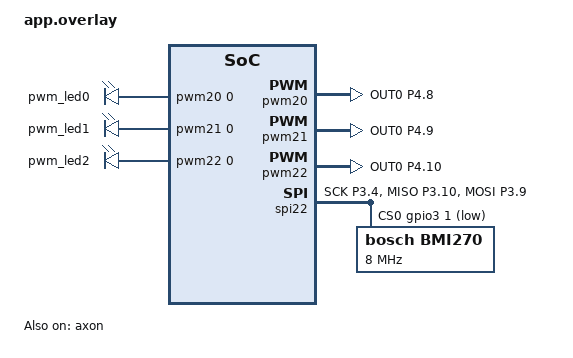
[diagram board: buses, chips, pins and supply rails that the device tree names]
/*
 * Copyright (c) 2026 Nordic Semiconductor ASA
 *
 * SPDX-License-Identifier: LicenseRef-Nordic-5-Clause
 */

/*
 * Drive the DK's green LEDs 0-2 (P4.8, P4.9, P4.10) from PWM20-22 so the
 * application can use its PWM LED effects instead of the GPIO fallback.
 */
/ {
	aliases {
		pwm-led0 = &pwm_led0;
		pwm-led1 = &pwm_led1;
		pwm-led2 = &pwm_led2;
	};

	pwmleds {
		compatible = "pwm-leds";

		pwm_led0: pwm_led_0 {
			pwms = <&pwm20 0 PWM_MSEC(20) PWM_POLARITY_NORMAL>;
		};

		pwm_led1: pwm_led_1 {
			pwms = <&pwm21 0 PWM_MSEC(20) PWM_POLARITY_NORMAL>;
		};

		pwm_led2: pwm_led_2 {
			pwms = <&pwm22 0 PWM_MSEC(20) PWM_POLARITY_NORMAL>;
		};
	};
};

&pwm20 {
	status = "okay";
	pinctrl-0 = <&pwm20_default_alt>;
	pinctrl-1 = <&pwm20_sleep_alt>;
	pinctrl-names = "default", "sleep";
};

&pwm21 {
	status = "okay";
	pinctrl-0 = <&pwm21_default_alt>;
	pinctrl-1 = <&pwm21_sleep_alt>;
	pinctrl-names = "default", "sleep";
};

&pwm22 {
	status = "okay";
	pinctrl-0 = <&pwm22_default_alt>;
	pinctrl-1 = <&pwm22_sleep_alt>;
	pinctrl-names = "default", "sleep";
};

&pinctrl {
	pwm20_default_alt: pwm20_default_alt {
		group1 {
			psels = <NRF_PSEL(PWM_OUT0, 4, 8)>;
		};
	};

	pwm20_sleep_alt: pwm20_sleep_alt {
		group1 {
			psels = <NRF_PSEL(PWM_OUT0, 4, 8)>;
			low-power-enable;
		};
	};

	pwm21_default_alt: pwm21_default_alt {
		group1 {
			psels = <NRF_PSEL(PWM_OUT0, 4, 9)>;
		};
	};

	pwm21_sleep_alt: pwm21_sleep_alt {
		group1 {
			psels = <NRF_PSEL(PWM_OUT0, 4, 9)>;
			low-power-enable;
		};
	};

	pwm22_default_alt: pwm22_default_alt {
		group1 {
			psels = <NRF_PSEL(PWM_OUT0, 4, 10)>;
		};
	};

	pwm22_sleep_alt: pwm22_sleep_alt {
		group1 {
			psels = <NRF_PSEL(PWM_OUT0, 4, 10)>;
			low-power-enable;
		};
	};

	spi22_default: spi22_default {
		group1 {
			psels = <NRF_PSEL(SPIM_SCK, 3, 4)>,
				<NRF_PSEL(SPIM_MISO, 3, 10)>,
				<NRF_PSEL(SPIM_MOSI, 3, 9)>;
			bias-pull-down;
		};
	};

	spi22_sleep: spi22_sleep {
		group1 {
			psels = <NRF_PSEL(SPIM_SCK, 3, 4)>,
				<NRF_PSEL(SPIM_MISO, 3, 10)>,
				<NRF_PSEL(SPIM_MOSI, 3, 9)>;
			bias-pull-down;
			low-power-enable;
		};
	};
};

&spi22 {
	status = "okay";
	pinctrl-0 = <&spi22_default>;
	pinctrl-1 = <&spi22_sleep>;
	pinctrl-names = "default", "sleep";
	overrun-character = <0x00>;
	cs-gpios = <&gpio3 1 GPIO_ACTIVE_LOW>;

	bmi270: spi-dev-bmi270@0 {
		compatible = "bosch,bmi270";
		status = "okay";
		reg = <0>;
		spi-max-frequency = <DT_FREQ_M(8)>;
	};
};

&axon {
	status = "okay";
};
